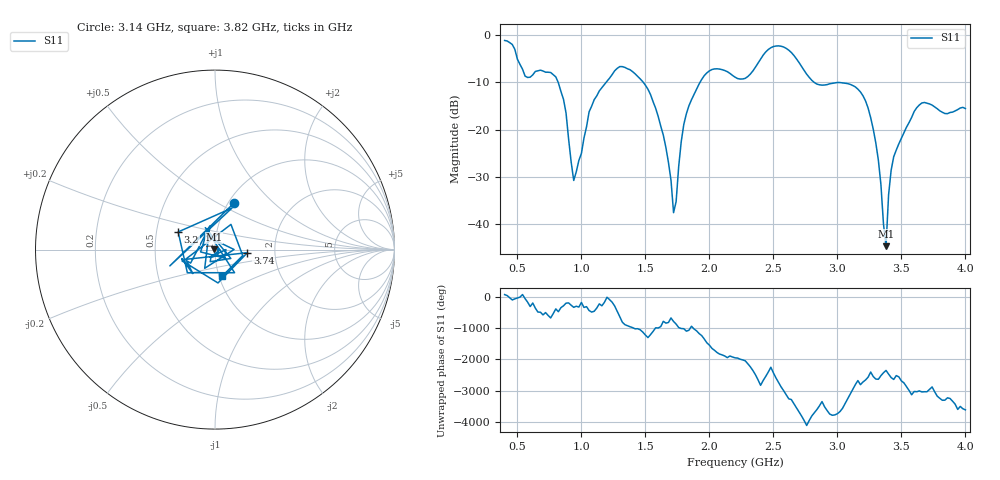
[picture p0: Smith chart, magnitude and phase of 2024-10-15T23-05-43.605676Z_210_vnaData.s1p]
! Created with skrf (http://scikit-rf.org).
# Hz S RI R 50.0
!freq ReS11 ImS11
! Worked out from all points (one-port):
!   181 points, 400 MHz to 4 GHz, reference 50 ohm
!   lowest |S11| = -44.6 dB at 3.38 GHz (marker M1), VSWR 1.01, Z = 49.4 + j0.146 ohm
!   |S11| at or under -10 dB: 818.2 MHz to 1.193 GHz (375 MHz wide, 37.3 % of centre); 1.483 GHz to 1.927 GHz (444.4 MHz wide, 26.1 % of centre); 2.818 GHz to end of sweep
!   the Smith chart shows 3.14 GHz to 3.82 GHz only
!   S11 on the Smith chart (normalised r, x): 3.14 GHz: 1.06, +0.60; 3.2 GHz: 0.65, +0.13; 3.74 GHz: 1.44, -0.05; 3.82 GHz: 1.04, -0.31
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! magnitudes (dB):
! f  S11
! 400 MHz  -1.2
! 560 MHz  -8.7
! 760 MHz  -7.9
! 860 MHz  -13.6
! 940 MHz  -30.7
! 1.06 GHz  -16.3
! 1.3 GHz  -6.7
! 1.58 GHz  -15.5
! 1.66 GHz  -23.8
! 1.72 GHz  -37.5
! 1.76 GHz  -27.8
! 1.82 GHz  -16.7
! 1.94 GHz  -9.4
! 2.2 GHz  -8.9
! 2.5 GHz  -2.5
! 2.66 GHz  -4.3
! 2.84 GHz  -10.4
! 3.1 GHz  -10.4
! 3.14 GHz  -11.0
! 3.2 GHz  -12.9
! 3.3 GHz  -22.8
! 3.38 GHz  -44.6
! 3.4 GHz  -33.7
! 3.42 GHz  -28.6
! 3.56 GHz  -18.5
! 3.74 GHz  -14.8
! 3.82 GHz  -16.3
! 4 GHz  -15.5
